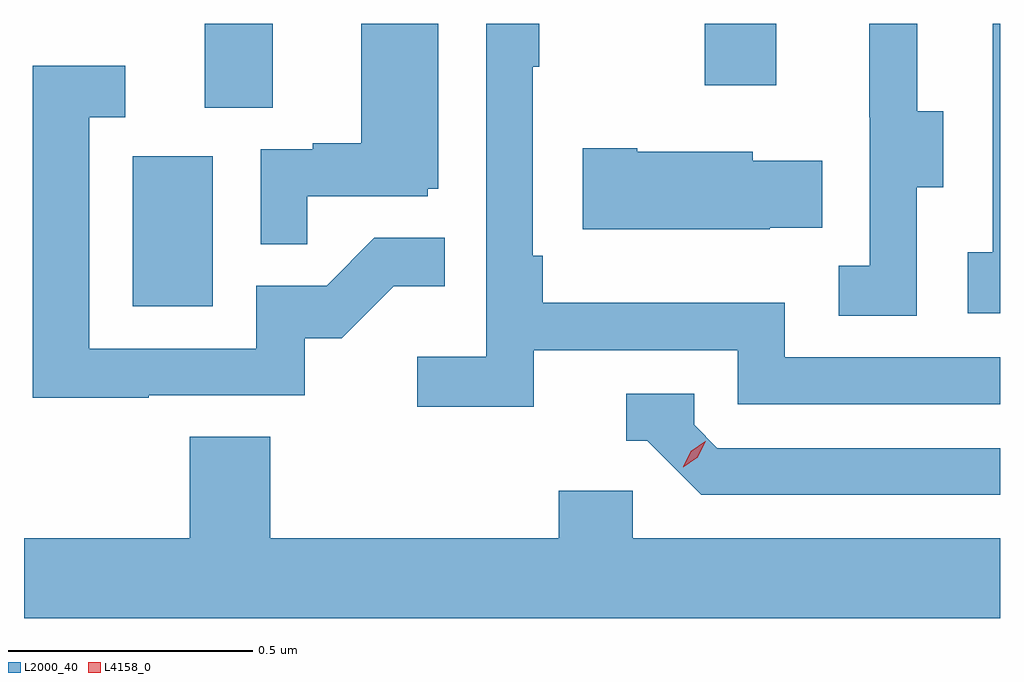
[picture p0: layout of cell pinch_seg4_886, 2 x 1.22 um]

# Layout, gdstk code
import gdstk
lib = gdstk.Library(unit=1e-6, precision=1e-09)
def R(c, l, rs):  # rectangles x0, y0, x1, y1
    for r in rs: c.add(gdstk.rectangle(r[:2], r[2:], *l))
def P(c, l, *ps):  # polygons
    for p in ps: c.add(gdstk.Polygon(p, *l))
L2000_40 = (2000, 40)
L4158_0 = (4158, 0)

pinch_seg4_886 = lib.new_cell('pinch_seg4_886')
R(pinch_seg4_886, L2000_40, [(854.408,792.132,854.572,792.439), (854.555,792.538,854.695,792.711), (855.58,792.585,855.727,792.711)])
P(pinch_seg4_886, L2000_40, [(856.014,792.376),(856.069,792.376),(856.069,792.531),(856.015,792.531),(856.015,792.711),(855.917,792.711),(855.917,792.519),(855.918,792.519),(855.918,792.215),(855.855,792.215),(855.855,792.112),(856.014,792.112)],
  [(856.185,792.711),(856.17,792.711),(856.17,792.242),(856.119,792.242),(856.119,792.117),(856.185,792.117)],
  [(854.765,792.357),(855.012,792.357),(855.012,792.372),(855.034,792.372),(855.034,792.711),(854.876,792.711),(854.876,792.466),(854.777,792.466),(854.777,792.453),(854.67,792.453),(854.67,792.259),(854.765,792.259)],
  [(855.23,792.042),(855.648,792.042),(855.648,791.931),(856.185,791.931),(856.185,792.027),(855.744,792.027),(855.744,792.139),(855.248,792.139),(855.248,792.235),(855.228,792.235),(855.228,792.623),(855.241,792.623),(855.241,792.711),(855.132,792.711),(855.132,792.028),(854.991,792.028),(854.991,791.926),(855.23,791.926)],
  [(854.441,791.949),(854.76,791.949),(854.76,792.066),(854.836,792.066),(854.943,792.173),(855.047,792.173),(855.047,792.272),(854.903,792.272),(854.805,792.174),(854.661,792.174),(854.661,792.045),(854.319,792.045),(854.319,792.519),(854.392,792.519),(854.392,792.625),(854.203,792.625),(854.203,791.944),(854.441,791.944)],
  [(855.713,792.293),(855.821,792.293),(855.821,792.43),(855.678,792.43),(855.678,792.448),(855.442,792.448),(855.442,792.456),(855.33,792.456),(855.33,792.29),(855.713,792.29)],
  [(856.185,791.841),(855.606,791.841),(855.558,791.889),(855.558,791.952),(855.419,791.952),(855.419,791.856),(855.462,791.856),(855.573,791.745),(856.185,791.745)],
  [(856.185,791.656),(855.432,791.656),(855.432,791.754),(855.281,791.754),(855.281,791.656),(854.69,791.656),(854.69,791.864),(854.525,791.864),(854.525,791.656),(854.185,791.656),(854.185,791.492),(856.185,791.492)])
P(pinch_seg4_886, L4158_0, [(855.536,791.802),(855.536,791.803),(855.551,791.835),(855.581,791.855),(855.582,791.855),(855.582,791.855),(855.566,791.822),(855.536,791.802)])

lib.write_gds('pinch_seg4_886.gds')
